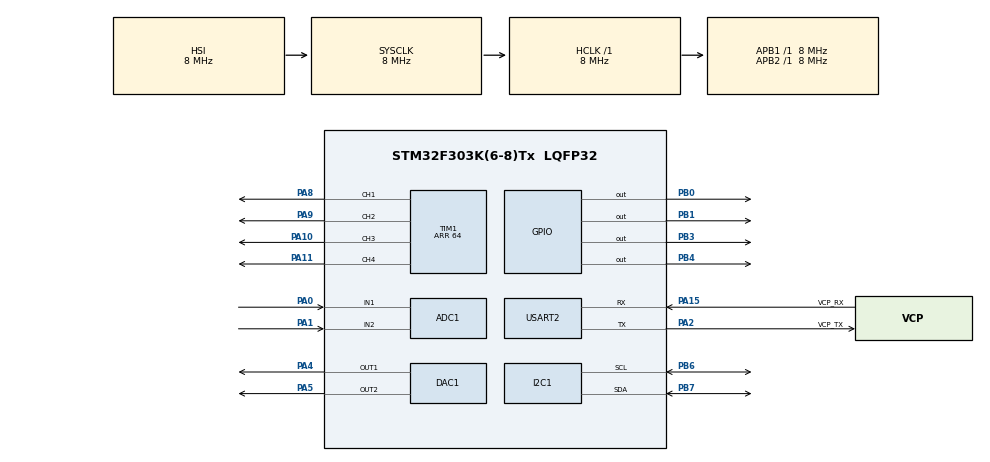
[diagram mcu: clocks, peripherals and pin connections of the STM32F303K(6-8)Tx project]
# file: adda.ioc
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ADC1.Channel-6\#ChannelRegularConversion=ADC_CHANNEL_1
ADC1.ClockPrescaler=ADC_CLOCK_SYNC_PCLK_DIV4
ADC1.ContinuousConvMode=DISABLE
ADC1.DMAContinuousRequests=ENABLE
ADC1.DataAlign=ADC_DATAALIGN_RIGHT
ADC1.EOCSelection=ADC_EOC_SINGLE_CONV
ADC1.EnableInjectedConversion=DISABLE
ADC1.EnableRegularConversion=ENABLE
ADC1.ExternalTrigConv=ADC_EXTERNALTRIGCONV_T6_TRGO
ADC1.ExternalTrigConvEdge=ADC_EXTERNALTRIGCONVEDGE_RISING
ADC1.NbrOfConversionFlag=1
ADC1.Offset-6\#ChannelRegularConversion=0
ADC1.OffsetNumber-6\#ChannelRegularConversion=ADC_OFFSET_NONE
ADC1.Overrun=ADC_OVR_DATA_OVERWRITTEN
ADC1.Rank-6\#ChannelRegularConversion=1
ADC1.SamplingTime-6\#ChannelRegularConversion=ADC_SAMPLETIME_1CYCLE_5
ADC1.SamplingTimeOPAMP-6\#ChannelRegularConversion=ADC_SAMPLETIME_1CYCLE_5
ADC1.SequencerNbRanks=1
ADC1.SubFamily=STM32F303x8
ADC1.master=1
DAC1.DAC_Trigger=DAC_TRIGGER_T6_TRGO
Dma.ADC1.0.Direction=DMA_PERIPH_TO_MEMORY
Dma.ADC1.0.Instance=DMA1_Channel1
Dma.ADC1.0.MemDataAlignment=DMA_MDATAALIGN_WORD
Dma.ADC1.0.MemInc=DMA_MINC_ENABLE
Dma.ADC1.0.Mode=DMA_CIRCULAR
Dma.ADC1.0.PeriphDataAlignment=DMA_PDATAALIGN_WORD
Dma.ADC1.0.PeriphInc=DMA_PINC_DISABLE
Dma.ADC1.0.Priority=DMA_PRIORITY_HIGH
Dma.DAC1_CH1.1.Direction=DMA_MEMORY_TO_PERIPH
Dma.DAC1_CH1.1.Instance=DMA1_Channel3
Dma.DAC1_CH1.1.MemDataAlignment=DMA_MDATAALIGN_WORD
Dma.DAC1_CH1.1.MemInc=DMA_MINC_ENABLE
Dma.DAC1_CH1.1.Mode=DMA_CIRCULAR
Dma.DAC1_CH1.1.PeriphDataAlignment=DMA_PDATAALIGN_WORD
Dma.DAC1_CH1.1.PeriphInc=DMA_PINC_DISABLE
Dma.DAC1_CH1.1.Priority=DMA_PRIORITY_HIGH
Dma.Request0=ADC1
Dma.Request1=DAC1_CH1
Mcu.Family=STM32F3
Mcu.Name=STM32F303K(6-8)Tx
Mcu.Package=LQFP32
NVIC.DMA1_Channel1_IRQn=true\:1\:0\:true\:true\:true\:1\:false\:true\:true
NVIC.DMA1_Channel3_IRQn=true\:1\:0\:true\:true\:true\:2\:false\:true\:true
NVIC.PriorityGroup=NVIC_PRIORITYGROUP_4
PA0.Mode=IN1-Single-Ended
PA0.Signal=ADC1_IN1
PA1.Mode=IN2-Single-Ended
PA1.Signal=ADC1_IN2
PA10.Signal=S_TIM1_CH3
PA11.Signal=S_TIM1_CH4
PA13.GPIO_Label=SWDIO
PA13.Mode=Serial_Wire
PA13.Signal=SYS_JTMS-SWDIO
PA14.GPIO_Label=SWCLK
PA14.Mode=Serial_Wire
PA14.Signal=SYS_JTCK-SWCLK
PA15.GPIO_Label=VCP_RX
PA15.Mode=Asynchronous
PA15.Signal=USART2_RX
PA2.GPIO_Label=VCP_TX
PA2.Mode=Asynchronous
PA2.Signal=USART2_TX
PA4.Signal=COMP_DAC11_group
PA5.Signal=COMP_DAC12_group
PA8.Signal=S_TIM1_CH1
PA9.Signal=S_TIM1_CH2
PB0.GPIO_ModeDefaultOutputPP=GPIO_MODE_OUTPUT_PP
PB0.GPIO_PuPd=GPIO_PULLDOWN
PB0.GPIO_Speed=GPIO_SPEED_FREQ_HIGH
PB0.PinState=GPIO_PIN_RESET
PB0.Signal=GPIO_Output
PB1.GPIO_ModeDefaultOutputPP=GPIO_MODE_OUTPUT_PP
PB1.GPIO_PuPd=GPIO_PULLDOWN
PB1.GPIO_Speed=GPIO_SPEED_FREQ_HIGH
PB1.PinState=GPIO_PIN_RESET
PB1.Signal=GPIO_Output
PB3.GPIO_ModeDefaultOutputPP=GPIO_MODE_OUTPUT_PP
PB3.GPIO_PuPd=GPIO_PULLDOWN
PB3.GPIO_Speed=GPIO_SPEED_FREQ_HIGH
PB3.PinState=GPIO_PIN_RESET
PB3.Signal=GPIO_Output
PB4.GPIO_ModeDefaultOutputPP=GPIO_MODE_OUTPUT_PP
PB4.GPIO_PuPd=GPIO_PULLDOWN
PB4.GPIO_Speed=GPIO_SPEED_FREQ_HIGH
PB4.PinState=GPIO_PIN_RESET
PB4.Signal=GPIO_Output
PB6.Mode=I2C
PB6.Signal=I2C1_SCL
PB7.Mode=I2C
PB7.Signal=I2C1_SDA
PF0\ /\ OSC_IN.GPIO_Label=MCO
PF0\ /\ OSC_IN.Mode=HSE-External-Clock-Source
PF0\ /\ OSC_IN.Signal=RCC_OSC_IN
ProjectManager.HeapSize=0x200
ProjectManager.StackSize=0x400
ProjectManager.TargetToolchain=STM32CubeIDE
RCC.AHBFreq_Value=8000000
RCC.APB1Freq_Value=8000000
RCC.APB2Freq_Value=8000000
RCC.CortexFreq_Value=8000000
RCC.HSE_VALUE=8000000
RCC.HSI_VALUE=8000000
RCC.PLLMUL=RCC_PLL_MUL4
RCC.SYSCLKFreq_VALUE=8000000
SH.COMP_DAC11_group.0=DAC1_OUT1,DAC_OUT1
SH.COMP_DAC12_group.0=DAC1_OUT2,DAC_OUT2
SH.S_TIM1_CH1.0=TIM1_CH1,PWM Generation1 CH1
SH.S_TIM1_CH2.0=TIM1_CH2,PWM Generation2 CH2
SH.S_TIM1_CH3.0=TIM1_CH3,PWM Generation3 CH3
SH.S_TIM1_CH4.0=TIM1_CH4,PWM Generation4 CH4
TIM1.Channel-PWM\ Generation1\ CH1=TIM_CHANNEL_1
TIM1.Channel-PWM\ Generation2\ CH2=TIM_CHANNEL_2
TIM1.Channel-PWM\ Generation3\ CH3=TIM_CHANNEL_3
TIM1.Channel-PWM\ Generation4\ CH4=TIM_CHANNEL_4
TIM1.Period=64
TIM1.TIM_MasterOutputTrigger=TIM_TRGO_UPDATE
TIM1.TIM_MasterOutputTrigger2=TIM_TRGO2_UPDATE
TIM1.TIM_MasterSlaveMode=TIM_MASTERSLAVEMODE_DISABLE
TIM6.AutoReloadPreload=TIM_AUTORELOAD_PRELOAD_ENABLE
TIM6.Period=4
TIM6.Prescaler=2
TIM6.TIM_MasterOutputTrigger=TIM_TRGO_UPDATE
USART2.VirtualMode-Asynchronous=VM_ASYNC
VP_TIM1_VS_ClockSourceINT.Mode=Internal
VP_TIM6_VS_ClockSourceINT.Mode=Enable_Timer
board=NUCLEO-F303K8

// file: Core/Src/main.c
/* USER CODE BEGIN Header */
/**
  ******************************************************************************
  * @file           : main.c
  * @brief          : Main program body
  ******************************************************************************
  * @attention
  *
  * Copyright (c) 2023 STMicroelectronics.
  * All rights reserved.
  *
  * This software is licensed under terms that can be found in the LICENSE file
  * in the root directory of this software component.
  * If no LICENSE file comes with this software, it is provided AS-IS.
  *
  ******************************************************************************
  */
/* USER CODE END Header */
#include "main.h"
#include "adc.h"
#include "dac.h"
#include "dma.h"
#include "i2c.h"
#include "tim.h"
#include "usart.h"
#include "gpio.h"

/* USER CODE BEGIN Includes */
#include <stdlib.h>
/* USER CODE END Includes */

/* USER CODE BEGIN PD */
#define BUFFERSIZE 64
/* USER CODE END PD */

/* USER CODE BEGIN PV */

uint32_t out_buffer[BUFFERSIZE];
uint32_t in_buffer[BUFFERSIZE];
uint32_t dsp_buffer[BUFFERSIZE];
static volatile uint32_t* inbufferPtr;
static volatile uint32_t* outbufferPtr = &out_buffer[0];
int16_t dataReadyFlag;

/* USER CODE END PV */

void SystemClock_Config(void);
static void MX_NVIC_Init(void);
/* USER CODE BEGIN PFP */
void processDSP();
/* USER CODE END PFP */

int main(void)
{

  /* MCU Configuration--------------------------------------------------------*/

  /* Reset of all peripherals, Initializes the Flash interface and the Systick. */
  HAL_Init();

  /* Configure the system clock */
  SystemClock_Config();

  /* Initialize all configured peripherals */
  MX_GPIO_Init();
  MX_DMA_Init();
  MX_USART2_UART_Init();
  MX_ADC1_Init();
  MX_TIM6_Init();
  MX_DAC1_Init();
  MX_I2C1_Init();
  MX_TIM1_Init();

  /* Initialize interrupts */
  MX_NVIC_Init();
  /* USER CODE BEGIN 2 */
	HAL_TIM_Base_Start(&htim6);
	HAL_ADC_Start_DMA(&hadc1, (uint32_t *)in_buffer, BUFFERSIZE);
	HAL_DAC_Start_DMA(&hdac1, DAC1_CHANNEL_1, (uint32_t *)out_buffer, BUFFERSIZE, DAC_ALIGN_12B_R);
	inbufferPtr = &in_buffer[0];
	outbufferPtr = &out_buffer[0];

  /* USER CODE END 2 */

  /* Infinite loop */
  /* USER CODE BEGIN WHILE */
  while (1)
  {

    if (dataReadyFlag == 1) {
      processDSP();
    }

    /* USER CODE END WHILE */

  }
}

void SystemClock_Config(void)
{
  RCC_OscInitTypeDef RCC_OscInitStruct = {0};
  RCC_ClkInitTypeDef RCC_ClkInitStruct = {0};
  RCC_PeriphCLKInitTypeDef PeriphClkInit = {0};

  /** Initializes the RCC Oscillators according to the specified parameters
  * in the RCC_OscInitTypeDef structure.
  */
  RCC_OscInitStruct.OscillatorType = RCC_OSCILLATORTYPE_HSI;
  RCC_OscInitStruct.HSIState = RCC_HSI_ON;
  RCC_OscInitStruct.HSICalibrationValue = RCC_HSICALIBRATION_DEFAULT;
  RCC_OscInitStruct.PLL.PLLState = RCC_PLL_NONE;
  if (HAL_RCC_OscConfig(&RCC_OscInitStruct) != HAL_OK)
  {
    Error_Handler();
  }

  /** Initializes the CPU, AHB and APB buses clocks
  */
  RCC_ClkInitStruct.ClockType = RCC_CLOCKTYPE_HCLK|RCC_CLOCKTYPE_SYSCLK
                              |RCC_CLOCKTYPE_PCLK1|RCC_CLOCKTYPE_PCLK2;
  RCC_ClkInitStruct.SYSCLKSource = RCC_SYSCLKSOURCE_HSI;
  RCC_ClkInitStruct.AHBCLKDivider = RCC_SYSCLK_DIV1;
  RCC_ClkInitStruct.APB1CLKDivider = RCC_HCLK_DIV1;
  RCC_ClkInitStruct.APB2CLKDivider = RCC_HCLK_DIV1;

  if (HAL_RCC_ClockConfig(&RCC_ClkInitStruct, FLASH_LATENCY_0) != HAL_OK)
  {
    Error_Handler();
  }
  PeriphClkInit.PeriphClockSelection = RCC_PERIPHCLK_I2C1|RCC_PERIPHCLK_TIM1;
  PeriphClkInit.I2c1ClockSelection = RCC_I2C1CLKSOURCE_HSI;
  PeriphClkInit.Tim1ClockSelection = RCC_TIM1CLK_HCLK;
  if (HAL_RCCEx_PeriphCLKConfig(&PeriphClkInit) != HAL_OK)
  {
    Error_Handler();
  }
}

/**
  * @brief NVIC Configuration.
  * @retval None
  */
static void MX_NVIC_Init(void)
{
  /* DMA1_Channel1_IRQn interrupt configuration */
  HAL_NVIC_SetPriority(DMA1_Channel1_IRQn, 1, 0);
  HAL_NVIC_EnableIRQ(DMA1_Channel1_IRQn);
  /* DMA1_Channel3_IRQn interrupt configuration */
  HAL_NVIC_SetPriority(DMA1_Channel3_IRQn, 1, 0);
  HAL_NVIC_EnableIRQ(DMA1_Channel3_IRQn);
}

/* USER CODE BEGIN 4 */
void processDSP() {
	for(int n=0; n<BUFFERSIZE/2; n++) {
		outbufferPtr[n] = inbufferPtr[n];
//	  if(n%2)
//	  {
//	    outbufferPtr[n] = 3000;
//	  }
//	  else
//	  {
//	    outbufferPtr[n] = 0;
//	  }

	}
	dataReadyFlag = 0;

}

void HAL_DAC_ConvCpltCallbackCh1(DAC_HandleTypeDef* hdac) {

}

// Rotating buffer, split half processDSP loop length to work
void HAL_ADC_ConvCpltCallback(ADC_HandleTypeDef* hadc) {
	inbufferPtr = &in_buffer[0];
	outbufferPtr = &out_buffer[0];
  dataReadyFlag = 1;
}

void HAL_ADC_ConvHalfCpltCallback(ADC_HandleTypeDef* hadc) {
	inbufferPtr = &in_buffer[BUFFERSIZE/2];
	outbufferPtr = &out_buffer[BUFFERSIZE/2];
  dataReadyFlag = 1;

}

/* USER CODE END 4 */

void Error_Handler(void)
{
  __disable_irq();
  while (1)
  {
  }
}
